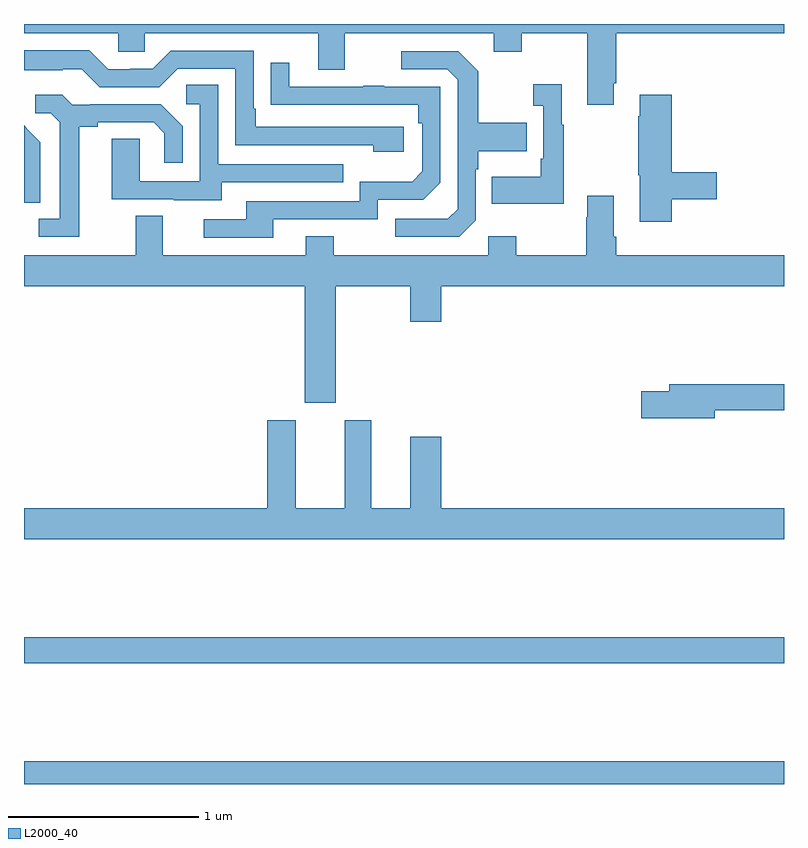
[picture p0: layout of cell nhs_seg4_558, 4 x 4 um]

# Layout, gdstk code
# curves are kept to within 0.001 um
import gdstk
lib = gdstk.Library(unit=1e-6, precision=1e-09)
def R(c, l, rs):  # rectangles x0, y0, x1, y1
    for r in rs: c.add(gdstk.rectangle(r[:2], r[2:], *l))
def P(c, l, *ps):  # polygons
    for p in ps: c.add(gdstk.Polygon(p, *l))
L2000_40 = (2000, 40)

nhs_seg4_558 = lib.new_cell('nhs_seg4_558')
R(nhs_seg4_558, L2000_40, [(139,760.9,143,761.02), (139,761.536,143,761.672)])
P(nhs_seg4_558, L2000_40, [(142.105,764.587),(142.118,764.587),(142.118,764.852),(143,764.852),(143,764.9),(139,764.9),(139,764.852),(139.497,764.852),(139.497,764.754),(139.635,764.754),(139.635,764.852),(140.549,764.852),(140.549,764.658),(140.689,764.658),(140.689,764.852),(141.473,764.852),(141.473,764.753),(141.621,764.753),(141.621,764.852),(141.965,764.852),(141.965,764.475),(142.105,764.475)],
  [(140.998,764.358),(140.221,764.358),(140.221,764.455),(140.208,764.455),(140.208,764.76),(139.773,764.76),(139.677,764.664),(139.559,764.664),(139.559,764.661),(139.443,764.661),(139.343,764.761),(139,764.761),(139,764.657),(139.205,764.657),(139.205,764.661),(139.305,764.661),(139.398,764.568),(139.713,764.568),(139.809,764.664),(140.112,764.664),(140.112,764.262),(140.837,764.262),(140.837,764.228),(140.998,764.228)],
  [(141.378,763.866),(141.378,764.135),(141.391,764.135),(141.391,764.231),(141.647,764.231),(141.647,764.379),(141.391,764.379),(141.391,764.651),(141.285,764.757),(140.985,764.757),(140.985,764.661),(141.228,764.661),(141.282,764.607),(141.282,763.926),(141.231,763.875),(140.955,763.875),(140.955,763.779),(141.291,763.779)],
  [(140.311,763.872),(140.862,763.872),(140.862,763.974),(141.102,763.974),(141.192,764.064),(141.192,764.571),(140.897,764.571),(140.897,764.576),(140.785,764.576),(140.785,764.571),(140.395,764.571),(140.395,764.695),(140.299,764.695),(140.299,764.476),(141.076,764.475),(141.076,764.378),(141.096,764.378),(141.096,764.124),(141.043,764.071),(140.766,764.071),(140.766,763.968),(140.171,763.968),(140.171,763.872),(139.947,763.872),(139.947,763.776),(140.311,763.776)],
  [(141.841,764.371),(141.829,764.371),(141.829,764.584),(141.681,764.584),(141.681,764.471),(141.732,764.471),(141.732,764.191),(141.72,764.191),(141.72,764.095),(141.463,764.095),(141.463,763.955),(141.841,763.955)],
  [(140.041,764.067),(140.681,764.067),(140.681,764.163),(140.022,764.163),(140.022,764.579),(139.854,764.579),(139.854,764.478),(139.926,764.478),(139.926,764.073),(139.608,764.073),(139.608,764.297),(139.463,764.297),(139.463,763.977),(139.787,763.977),(139.787,763.973),(140.041,763.973)],
  [(142.409,763.978),(142.645,763.978),(142.645,764.12),(142.409,764.12),(142.409,764.527),(142.241,764.527),(142.241,764.414),(142.234,764.414),(142.234,764.103),(142.241,764.103),(142.241,763.86),(142.409,763.86)],
  [(139.291,764.36),(139.387,764.36),(139.387,764.382),(139.682,764.382),(139.739,764.325),(139.739,764.169),(139.836,764.169),(139.836,764.362),(139.72,764.478),(139.348,764.478),(139.348,764.475),(139.254,764.475),(139.202,764.527),(139.059,764.527),(139.059,764.43),(139.14,764.43),(139.187,764.383),(139.187,763.875),(139.077,763.875),(139.077,763.779),(139.291,763.779)],
  [(139.086,764.278),(139.013,764.351),(139.014,764.352),(139,764.366),(139,763.96),(139.086,763.96)],
  [(140.641,763.52),(141.032,763.52),(141.032,763.332),(141.196,763.332),(141.196,763.52),(143,763.52),(143,763.684),(142.118,763.684),(142.118,763.78),(142.105,763.78),(142.105,763.996),(141.965,763.996),(141.965,763.883),(141.958,763.883),(141.958,763.684),(141.591,763.684),(141.591,763.783),(141.444,763.783),(141.444,763.684),(140.631,763.684),(140.631,763.783),(140.483,763.783),(140.483,763.684),(139.729,763.684),(139.729,763.892),(139.589,763.892),(139.589,763.684),(139,763.684),(139,763.52),(140.477,763.52),(140.477,762.906),(140.641,762.906)],
  [(142.636,762.868),(143,762.868),(143,763.004),(142.397,763.004),(142.397,762.968),(142.248,762.968),(142.248,762.826),(142.636,762.826)],
  [(143,762.352),(141.196,762.352),(141.196,762.727),(141.032,762.727),(141.032,762.352),(140.827,762.352),(140.827,762.814),(140.687,762.814),(140.687,762.352),(140.431,762.352),(140.431,762.814),(140.279,762.814),(140.279,762.352),(139,762.352),(139,762.188),(143,762.188)])

lib.write_gds('nhs_seg4_558.gds')
